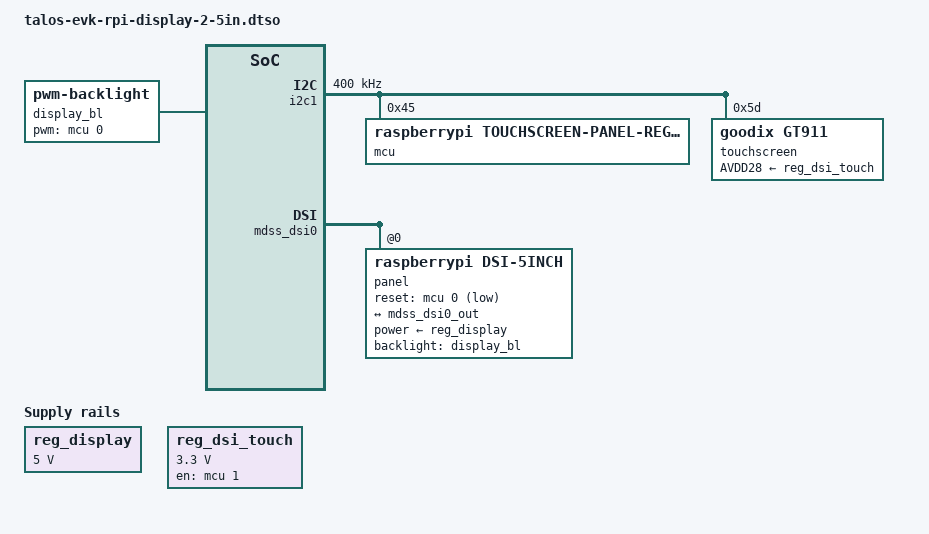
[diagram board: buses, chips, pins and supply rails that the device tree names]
// SPDX-License-Identifier: BSD-3-Clause
/*
 * Copyright (c) Qualcomm Technologies, Inc. and/or its subsidiaries.
 */
/dts-v1/;
/plugin/;

#include <dt-bindings/gpio/gpio.h>

&{/} {
	display_bl: backlight {
		compatible = "pwm-backlight";
		pwms = <&mcu 0 255 0>;
	};

	reg_display: regulator-display {
		compatible = "regulator-fixed";
		regulator-name = "rpi-display";
		regulator-min-microvolt = <5000000>;
		regulator-max-microvolt = <5000000>;
	};

	reg_dsi_touch: regulator-dsi-touch {
		compatible = "regulator-fixed";
		gpio = <&mcu 1 GPIO_ACTIVE_HIGH>;
		regulator-name = "rpi-touch";
		regulator-min-microvolt = <3300000>;
		regulator-max-microvolt = <3300000>;
		startup-delay-us = <50000>;
		enable-active-high;
	};
};

&hdmi_bridge {
	status = "disabled";
};

&i2c1 {
	clock-frequency = <400000>;

	status = "okay";

	#address-cells = <1>;
	#size-cells = <0>;

	mcu: gpio@45 {
		compatible = "raspberrypi,touchscreen-panel-regulator-v2";
		reg = <0x45>;
		gpio-controller;
		#gpio-cells = <2>;
		#pwm-cells = <3>;
	};

	touchscreen@5d {
		compatible = "goodix,gt911";
		reg = <0x5d>;
		AVDD28-supply = <&reg_dsi_touch>;
		touchscreen-size-x = <720>;
		touchscreen-size-y = <1280>;
	};
};

&mdss_dsi0 {
	#address-cells = <1>;
	#size-cells = <0>;

	status = "okay";

	panel: panel@0 {
		compatible = "raspberrypi,dsi-5inch", "ilitek,ili9881c";
		reg = <0>;

		backlight = <&display_bl>;
		power-supply = <&reg_display>;
		reset-gpios = <&mcu 0 GPIO_ACTIVE_LOW>;

		port {
			panel_in: endpoint {
				remote-endpoint = <&mdss_dsi0_out>;
			};
		};
	};
};

&mdss_dsi0_out {
	remote-endpoint = <&panel_in>;
	data-lanes = <0 1>;
};
